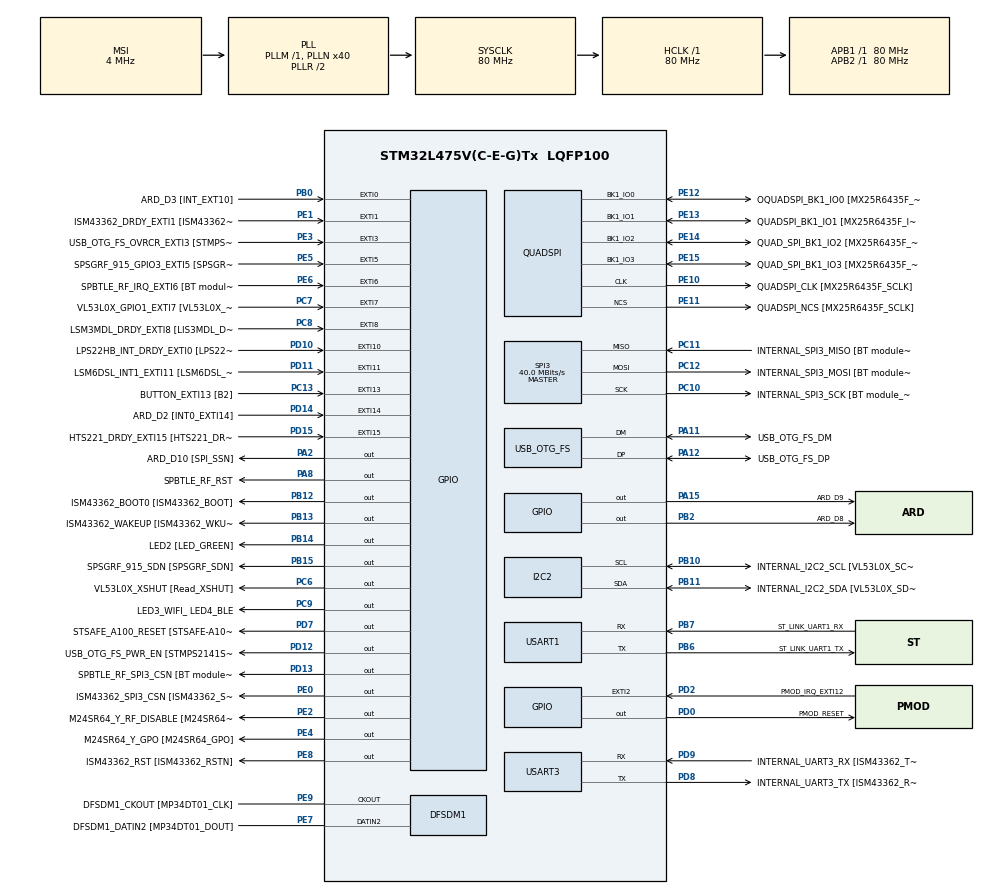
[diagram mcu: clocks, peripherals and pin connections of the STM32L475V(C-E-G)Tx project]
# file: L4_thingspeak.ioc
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I2C2.Timing=0x10909CEC
Mcu.Family=STM32L4
Mcu.Name=STM32L475V(C-E-G)Tx
Mcu.Package=LQFP100
NVIC.EXTI15_10_IRQn=true\:0\:0\:false\:false\:true\:true\:true\:true
NVIC.EXTI9_5_IRQn=true\:0\:0\:false\:false\:true\:true\:true\:true
NVIC.PriorityGroup=NVIC_PRIORITYGROUP_4
PA0.GPIO_Label=ARD_D1 [UART4_TX]
PA0.Signal=UART4_TX
PA1.GPIO_Label=ARD_D0 [UART4_RX]
PA1.Signal=UART4_RX
PA10.GPIO_Label=USB_OTG_FS_ID
PA10.Signal=USB_OTG_FS_ID
PA11.GPIO_Label=USB_OTG_FS_DM
PA11.Mode=Device_Only
PA11.Signal=USB_OTG_FS_DM
PA12.GPIO_Label=USB_OTG_FS_DP
PA12.Mode=Device_Only
PA12.Signal=USB_OTG_FS_DP
PA13\ (JTMS-SWDIO).GPIO_Label=SYS_JTMS_SWDIO
PA13\ (JTMS-SWDIO).Mode=Serial_Wire
PA13\ (JTMS-SWDIO).Signal=SYS_JTMS-SWDIO
PA14\ (JTCK-SWCLK).GPIO_Label=SYS_JTCK_SWCLK
PA14\ (JTCK-SWCLK).Mode=Serial_Wire
PA14\ (JTCK-SWCLK).Signal=SYS_JTCK-SWCLK
PA15\ (JTDI).GPIO_Label=ARD_D9
PA15\ (JTDI).Signal=GPIO_Output
PA2.GPIO_Label=ARD_D10 [SPI_SSN]
PA2.Signal=GPIO_Output
PA3.GPIO_Label=ARD_D4
PA3.Signal=S_TIM2_CH4
PA5.GPIO_Label=ARD_D13 [SPI1_SCK]
PA5.Signal=SPI1_SCK
PA6.GPIO_Label=ARD_D12 [SPI1_MISO]
PA6.Signal=SPI1_MISO
PA7.GPIO_Label=ARD_D11 [SPI1_MOSI]
PA7.Signal=SPI1_MOSI
PA8.GPIO_Label=SPBTLE_RF_RST
PA8.Signal=GPIO_Output
PA9.GPIO_Label=USB_OTG_FS_VBUS [STMPS2141STR_OUT]
PA9.Signal=USB_OTG_FS_VBUS
PB0.GPIO_Label=ARD_D3 [INT_EXT10]
PB0.Signal=GPXTI0
PB1.GPIO_Label=ARD_D6 [ADC1_IN6]
PB1.Signal=ADCx_IN16
PB10.GPIO_Label=INTERNAL_I2C2_SCL [VL53L0X_SCL]
PB10.GPIO_Pu=GPIO_PULLUP
PB10.Mode=I2C
PB10.Signal=I2C2_SCL
PB11.GPIO_Label=INTERNAL_I2C2_SDA [VL53L0X_SDA]
PB11.GPIO_Pu=GPIO_PULLUP
PB11.Mode=I2C
PB11.Signal=I2C2_SDA
PB12.GPIO_Label=ISM43362_BOOT0 [ISM43362_BOOT]
PB12.Signal=GPIO_Output
PB13.GPIO_Label=ISM43362_WAKEUP [ISM43362_WKUP]
PB13.Signal=GPIO_Output
PB14.GPIO_Label=LED2 [LED_GREEN]
PB14.Signal=GPIO_Output
PB15.GPIO_Label=SPSGRF_915_SDN [SPSGRF_SDN]
PB15.Signal=GPIO_Output
PB2.GPIO_Label=ARD_D8
PB2.Signal=GPIO_Output
PB6.GPIO_Label=ST_LINK_UART1_TX
PB6.Mode=Asynchronous
PB6.Signal=USART1_TX
PB7.GPIO_Label=ST_LINK_UART1_RX
PB7.Mode=Asynchronous
PB7.Signal=USART1_RX
PB8.GPIO_Label=ARD_D15 [I2C1_SCL]
PB8.Signal=I2C1_SCL
PB9.GPIO_Label=ARD_D14 [I2C1_SDA]
PB9.Signal=I2C1_SDA
PC0.GPIO_Label=ARD_A5 [ADC]
PC0.Signal=ADCx_IN1
PC1.GPIO_Label=ARD_A4 [ADC]
PC1.Signal=ADCx_IN2
PC10.GPIO_Label=INTERNAL_SPI3_SCK [BT module_SPI_SCLK] [ISM43362_SCK]
PC10.Mode=Full_Duplex_Master
PC10.Signal=SPI3_SCK
PC11.GPIO_Label=INTERNAL_SPI3_MISO [BT module_SPI_MISO] [ISM43362_MISO]
PC11.Mode=Full_Duplex_Master
PC11.Signal=SPI3_MISO
PC12.GPIO_Label=INTERNAL_SPI3_MOSI [BT module_SPI_MOSI] [ISM43362_MOSI]
PC12.Mode=Full_Duplex_Master
PC12.Signal=SPI3_MOSI
PC13.GPIO_Label=BUTTON_EXTI13 [B2]
PC13.GPIO_ModeDefaultEXTI=GPIO_MODE_IT_FALLING
PC13.Signal=GPXTI13
PC14-OSC32_IN\ (PC14).Mode=LSE-External-Oscillator
PC14-OSC32_IN\ (PC14).Signal=RCC_OSC32_IN
PC15-OSC32_OUT\ (PC15).Mode=LSE-External-Oscillator
PC15-OSC32_OUT\ (PC15).Signal=RCC_OSC32_OUT
PC2.GPIO_Label=ARD_A3 [ADC]
PC2.Signal=ADCx_IN3
PC3.GPIO_Label=ARD_A2 [ADC]
PC3.Signal=ADCx_IN4
PC4.GPIO_Label=ARD_A1 [ADC]
PC4.Signal=ADCx_IN13
PC5.GPIO_Label=ARD_A0 [ADC]
PC5.Signal=ADCx_IN14
PC6.GPIO_Label=VL53L0X_XSHUT [Read_XSHUT]
PC6.Signal=GPIO_Output
PC7.GPIO_Label=VL53L0X_GPIO1_EXTI7 [VL53L0X_GPIO1]
PC7.Signal=GPXTI7
PC8.GPIO_Label=LSM3MDL_DRDY_EXTI8 [LIS3MDL_DRDY]
PC8.Signal=GPXTI8
PC9.GPIO_Label=LED3_WIFI_ LED4_BLE
PC9.Signal=GPIO_Output
PD0.GPIO_Label=PMOD_RESET
PD0.Signal=GPIO_Output
PD1.GPIO_Label=PMOD_SPI2_SCK
PD1.Signal=SPI2_SCK
PD10.GPIO_Label=LPS22HB_INT_DRDY_EXTI0 [LPS22HB_INT_DRDY] 
PD10.Signal=GPXTI10
PD11.GPIO_Label=LSM6DSL_INT1_EXTI11 [LSM6DSL_INT1]
PD11.Signal=GPXTI11
PD12.GPIO_Label=USB_OTG_FS_PWR_EN [STMPS2141STR_EN]
PD12.Signal=GPIO_Output
PD13.GPIO_Label=SPBTLE_RF_SPI3_CSN [BT module_SPI_CS]
PD13.PinState=GPIO_PIN_SET
PD13.Signal=GPIO_Output
PD14.GPIO_Label=ARD_D2 [INT0_EXTI14]
PD14.Signal=GPXTI14
PD15.GPIO_Label=HTS221_DRDY_EXTI15 [HTS221_DRDY]
PD15.Signal=GPXTI15
PD2.GPIO_Label=PMOD_IRQ_EXTI12
PD2.Signal=GPXTI2
PD3.GPIO_Label=PMOD_UART2_CTS
PD3.Signal=USART2_CTS
PD4.GPIO_Label=PMOD_UART2_RTS
PD4.Signal=USART2_RTS
PD5.GPIO_Label=PMOD_UART2_TX
PD5.Signal=USART2_TX
PD6.GPIO_Label=PMOD_UART2_RX
PD6.Signal=USART2_RX
PD7.GPIO_Label=STSAFE_A100_RESET [STSAFE-A100_RESET]
PD7.Signal=GPIO_Output
PD8.GPIO_Label=INTERNAL_UART3_TX [ISM43362_RX]
PD8.Mode=Asynchronous
PD8.Signal=USART3_TX
PD9.GPIO_Label=INTERNAL_UART3_RX [ISM43362_TX]
PD9.Mode=Asynchronous
PD9.Signal=USART3_RX
PE0.GPIO_Label=ISM43362_SPI3_CSN [ISM43362_SSN]
PE0.PinState=GPIO_PIN_SET
PE0.Signal=GPIO_Output
PE1.GPIO_Label=ISM43362_DRDY_EXTI1 [ISM43362_DATARDY]
PE1.Signal=GPXTI1
PE10.GPIO_Label=QUADSPI_CLK [MX25R6435F_SCLK]
PE10.Mode=Single Bank
PE10.Signal=QUADSPI_CLK
PE11.GPIO_Label=QUADSPI_NCS [MX25R6435F_SCLK]
PE11.Mode=Single Bank
PE11.Signal=QUADSPI_NCS
PE12.GPIO_Label=OQUADSPI_BK1_IO0 [MX25R6435F_IO0]
PE12.Mode=Single Bank
PE12.Signal=QUADSPI_BK1_IO0
PE13.GPIO_Label=QUADSPI_BK1_IO1 [MX25R6435F_IO1]
PE13.Mode=Single Bank
PE13.Signal=QUADSPI_BK1_IO1
PE14.GPIO_Label=QUAD_SPI_BK1_IO2 [MX25R6435F_IO2]
PE14.Mode=Single Bank
PE14.Signal=QUADSPI_BK1_IO2
PE15.GPIO_Label=QUAD_SPI_BK1_IO3 [MX25R6435F_IO3]
PE15.Mode=Single Bank
PE15.Signal=QUADSPI_BK1_IO3
PE2.GPIO_Label=M24SR64_Y_RF_DISABLE [M24SR64_RFDIS]
PE2.Signal=GPIO_Output
PE3.GPIO_Label=USB_OTG_FS_OVRCR_EXTI3 [STMPS2141STR_FAULT]
PE3.Signal=GPXTI3
PE4.GPIO_Label=M24SR64_Y_GPO [M24SR64_GPO]
PE4.Signal=GPIO_Output
PE5.GPIO_Label=SPSGRF_915_GPIO3_EXTI5 [SPSGRF_GPIO_3]
PE5.Signal=GPXTI5
PE6.GPIO_Label=SPBTLE_RF_IRQ_EXTI6 [BT module_SPI_IRQ]
PE6.Signal=GPXTI6
PE7.GPIO_Label=DFSDM1_DATIN2 [MP34DT01_DOUT]
PE7.Signal=S_DATAIN2DFSDM1
PE8.GPIO_Label=ISM43362_RST [ISM43362_RSTN]
PE8.Signal=GPIO_Output
PE9.GPIO_Label=DFSDM1_CKOUT [MP34DT01_CLK]
PE9.Signal=S_CKOUTDFSDM1
ProjectManager.HeapSize=0x200
ProjectManager.StackSize=0x400
ProjectManager.TargetToolchain=STM32CubeIDE
QUADSPI.ClockPrescaler=2
QUADSPI.FifoThreshold=4
QUADSPI.FlashSize=23
QUADSPI.SampleShifting=QSPI_SAMPLE_SHIFTING_HALFCYCLE
RCC.ADCFreq_Value=48000000
RCC.AHBFreq_Value=80000000
RCC.APB1Freq_Value=80000000
RCC.APB1TimFreq_Value=80000000
RCC.APB2Freq_Value=80000000
RCC.APB2TimFreq_Value=80000000
RCC.CortexFreq_Value=80000000
RCC.HCLKFreq_Value=80000000
RCC.HSE_VALUE=8000000
RCC.HSI_VALUE=16000000
RCC.MSI_VALUE=4000000
RCC.PLLN=40
RCC.PLLSAI1N=24
RCC.SYSCLKFreq_VALUE=80000000
RCC.SYSCLKSource=RCC_SYSCLKSOURCE_PLLCLK
RCC.USBFreq_Value=48000000
RCC.VCOOutputFreq_Value=160000000
SH.ADCx_IN1.0=ADC1_IN1
SH.ADCx_IN13.0=ADC1_IN13
SH.ADCx_IN14.0=ADC1_IN14
SH.ADCx_IN16.0=ADC1_IN16
SH.ADCx_IN2.0=ADC1_IN2
SH.ADCx_IN3.0=ADC1_IN3
SH.ADCx_IN4.0=ADC1_IN4
SH.S_CKOUTDFSDM1.0=DFSDM1_CKOUT,CKOUT
SH.S_CKOUTDFSDM1.1=DFSDM1_CKOUT,PDM_SPI_Input_from_ch12_and_Internal_Clock
SH.S_DATAIN2DFSDM1.0=DFSDM1_DATIN2,PDM_SPI_Input_from_ch12_and_Internal_Clock
SH.S_TIM2_CH4.0=TIM2_CH4
SPI3.CalculateBaudRate=40.0 MBits/s
SPI3.Direction=SPI_DIRECTION_2LINES
SPI3.Mode=SPI_MODE_MASTER
SPI3.VirtualType=VM_MASTER
USART1.VirtualMode-Asynchronous=VM_ASYNC
USART3.VirtualMode-Asynchronous=VM_ASYNC
USB_OTG_FS.VirtualMode=Device_Only
board=B-L475E-IOT01A1

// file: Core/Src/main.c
/* USER CODE BEGIN Header */
/**
  ******************************************************************************
  * @file           : main.c
  * @brief          : Main program body
  ******************************************************************************
  * @attention
  *
  * Copyright (c) 2023 STMicroelectronics.
  * All rights reserved.
  *
  * This software is licensed under terms that can be found in the LICENSE file
  * in the root directory of this software component.
  * If no LICENSE file comes with this software, it is provided AS-IS.
  *
  ******************************************************************************
  */
/* USER CODE END Header */
#include "main.h"
#include "wifi.c"
#include "es_wifi.h"
/* USER CODE BEGIN Includes */
#include "stm32l475e_iot01.h"
#include "stm32l475e_iot01_tsensor.h"
#include <math.h>

/* USER CODE END Includes */

/* USER CODE BEGIN PD */
#define SSID     "TraTo"
#define PASSWORD "00000000"
#define PORT           80
#define THINGSPEAK_API_KEY "ZPLGUXRC93AJK66Y"
#define SampleTime	300000 //Sample time giả sử là 5 phút.
/* USER CODE END PD */

DFSDM_Channel_HandleTypeDef hdfsdm1_channel1;

I2C_HandleTypeDef hi2c2;

QSPI_HandleTypeDef hqspi;

SPI_HandleTypeDef hspi3;

UART_HandleTypeDef huart1;
UART_HandleTypeDef huart3;

PCD_HandleTypeDef hpcd_USB_OTG_FS;

/* USER CODE BEGIN PV */
static   uint8_t http[80];
uint16_t respLen;
uint8_t  IP_Addr[4];
uint16_t data[3]; // data buffer to be sent

float temp_value = 0;  // Measured temperature value
float hum_value = 0;  // Measured humidity value
float press_value = 0;  // Measured pressure value

/* USER CODE END PV */

void SystemClock_Config(void);
static void MX_GPIO_Init(void);
static void MX_DFSDM1_Init(void);
static void MX_I2C2_Init(void);
static void MX_QUADSPI_Init(void);
static void MX_SPI3_Init(void);
static void MX_USART1_UART_Init(void);
static void MX_USART3_UART_Init(void);
static void MX_USB_OTG_FS_PCD_Init(void);

int main(void)
{

  /* MCU Configuration--------------------------------------------------------*/

  /* Reset of all peripherals, Initializes the Flash interface and the Systick. */
  HAL_Init();

  /* Configure the system clock */
  SystemClock_Config();

  /* Initialize all configured peripherals */
  MX_GPIO_Init();
  MX_DFSDM1_Init();
  MX_I2C2_Init();
  MX_QUADSPI_Init();
  MX_SPI3_Init();
  MX_USART1_UART_Init();
  MX_USART3_UART_Init();
  MX_USB_OTG_FS_PCD_Init();
  /* USER CODE BEGIN 2 */
  while(WIFI_Init() !=  WIFI_STATUS_OK)
  {
	  HAL_Delay(5000); //delay 5s sau đó thử kết nối lại wifi
  };
  while(WIFI_Connect(SSID, PASSWORD, WIFI_ECN_WPA2_PSK) != WIFI_STATUS_OK) {
	  HAL_Delay(5000); //delay 5s sau đó thử kết nối lại wifi
  }
  WIFI_GetIP_Address(IP_Addr); //Lấy địa chỉ IP
  HAL_Delay(10);
  WIFI_OpenClientConnection(1, WIFI_TCP_PROTOCOL, "", "api.thingspeak.com", PORT, 3000);

  /* Init các cảm biến */
  BSP_TSENSOR_Init(); 	// cảm biến nhiệt độ
  BSP_HSENSOR_Init();	// Cảm biến độ ẩm
  BSP_PSENSOR_Init();	// Cảm biến áp suất

  /* USER CODE END 2 */

  /* Infinite loop */
  while (1)
  {

	  temp_value = BSP_TSENSOR_ReadTemp();
	  hum_value = BSP_HSENSOR_ReadHumidity();
	  press_value = BSP_PSENSOR_ReadPressure();

	  data[0] = (int) temp_value;
	  data[1] = (int) hum_value;
	  data[2] = (int) press_value;
	  SendData(3, &data);
	  HAL_Delay(SampleTime); // Sau mỗi Sample time thì gửi data một lần.

  }
}

void SystemClock_Config(void)
{
  RCC_OscInitTypeDef RCC_OscInitStruct = {0};
  RCC_ClkInitTypeDef RCC_ClkInitStruct = {0};

  /** Configure the main internal regulator output voltage
  */
  if (HAL_PWREx_ControlVoltageScaling(PWR_REGULATOR_VOLTAGE_SCALE1) != HAL_OK)
  {
    Error_Handler();
  }

  /** Configure LSE Drive Capability
  */
  HAL_PWR_EnableBkUpAccess();
  __HAL_RCC_LSEDRIVE_CONFIG(RCC_LSEDRIVE_LOW);

  /** Initializes the RCC Oscillators according to the specified parameters
  * in the RCC_OscInitTypeDef structure.
  */
  RCC_OscInitStruct.OscillatorType = RCC_OSCILLATORTYPE_LSE|RCC_OSCILLATORTYPE_MSI;
  RCC_OscInitStruct.LSEState = RCC_LSE_ON;
  RCC_OscInitStruct.MSIState = RCC_MSI_ON;
  RCC_OscInitStruct.MSICalibrationValue = 0;
  RCC_OscInitStruct.MSIClockRange = RCC_MSIRANGE_6;
  RCC_OscInitStruct.PLL.PLLState = RCC_PLL_ON;
  RCC_OscInitStruct.PLL.PLLSource = RCC_PLLSOURCE_MSI;
  RCC_OscInitStruct.PLL.PLLM = 1;
  RCC_OscInitStruct.PLL.PLLN = 40;
  RCC_OscInitStruct.PLL.PLLP = RCC_PLLP_DIV7;
  RCC_OscInitStruct.PLL.PLLQ = RCC_PLLQ_DIV2;
  RCC_OscInitStruct.PLL.PLLR = RCC_PLLR_DIV2;
  if (HAL_RCC_OscConfig(&RCC_OscInitStruct) != HAL_OK)
  {
    Error_Handler();
  }

  /** Initializes the CPU, AHB and APB buses clocks
  */
  RCC_ClkInitStruct.ClockType = RCC_CLOCKTYPE_HCLK|RCC_CLOCKTYPE_SYSCLK
                              |RCC_CLOCKTYPE_PCLK1|RCC_CLOCKTYPE_PCLK2;
  RCC_ClkInitStruct.SYSCLKSource = RCC_SYSCLKSOURCE_PLLCLK;
  RCC_ClkInitStruct.AHBCLKDivider = RCC_SYSCLK_DIV1;
  RCC_ClkInitStruct.APB1CLKDivider = RCC_HCLK_DIV1;
  RCC_ClkInitStruct.APB2CLKDivider = RCC_HCLK_DIV1;

  if (HAL_RCC_ClockConfig(&RCC_ClkInitStruct, FLASH_LATENCY_4) != HAL_OK)
  {
    Error_Handler();
  }

  /** Enable MSI Auto calibration
  */
  HAL_RCCEx_EnableMSIPLLMode();
}

static void MX_DFSDM1_Init(void)
{

  hdfsdm1_channel1.Instance = DFSDM1_Channel1;
  hdfsdm1_channel1.Init.OutputClock.Activation = ENABLE;
  hdfsdm1_channel1.Init.OutputClock.Selection = DFSDM_CHANNEL_OUTPUT_CLOCK_SYSTEM;
  hdfsdm1_channel1.Init.OutputClock.Divider = 2;
  hdfsdm1_channel1.Init.Input.Multiplexer = DFSDM_CHANNEL_EXTERNAL_INPUTS;
  hdfsdm1_channel1.Init.Input.DataPacking = DFSDM_CHANNEL_STANDARD_MODE;
  hdfsdm1_channel1.Init.Input.Pins = DFSDM_CHANNEL_FOLLOWING_CHANNEL_PINS;
  hdfsdm1_channel1.Init.SerialInterface.Type = DFSDM_CHANNEL_SPI_RISING;
  hdfsdm1_channel1.Init.SerialInterface.SpiClock = DFSDM_CHANNEL_SPI_CLOCK_INTERNAL;
  hdfsdm1_channel1.Init.Awd.FilterOrder = DFSDM_CHANNEL_FASTSINC_ORDER;
  hdfsdm1_channel1.Init.Awd.Oversampling = 1;
  hdfsdm1_channel1.Init.Offset = 0;
  hdfsdm1_channel1.Init.RightBitShift = 0x00;
  if (HAL_DFSDM_ChannelInit(&hdfsdm1_channel1) != HAL_OK)
  {
    Error_Handler();
  }

}

static void MX_I2C2_Init(void)
{

  hi2c2.Instance = I2C2;
  hi2c2.Init.Timing = 0x10909CEC;
  hi2c2.Init.OwnAddress1 = 0;
  hi2c2.Init.AddressingMode = I2C_ADDRESSINGMODE_7BIT;
  hi2c2.Init.DualAddressMode = I2C_DUALADDRESS_DISABLE;
  hi2c2.Init.OwnAddress2 = 0;
  hi2c2.Init.OwnAddress2Masks = I2C_OA2_NOMASK;
  hi2c2.Init.GeneralCallMode = I2C_GENERALCALL_DISABLE;
  hi2c2.Init.NoStretchMode = I2C_NOSTRETCH_DISABLE;
  if (HAL_I2C_Init(&hi2c2) != HAL_OK)
  {
    Error_Handler();
  }

  /** Configure Analogue filter
  */
  if (HAL_I2CEx_ConfigAnalogFilter(&hi2c2, I2C_ANALOGFILTER_ENABLE) != HAL_OK)
  {
    Error_Handler();
  }

  /** Configure Digital filter
  */
  if (HAL_I2CEx_ConfigDigitalFilter(&hi2c2, 0) != HAL_OK)
  {
    Error_Handler();
  }

}

static void MX_QUADSPI_Init(void)
{

  /* QUADSPI parameter configuration*/
  hqspi.Instance = QUADSPI;
  hqspi.Init.ClockPrescaler = 2;
  hqspi.Init.FifoThreshold = 4;
  hqspi.Init.SampleShifting = QSPI_SAMPLE_SHIFTING_HALFCYCLE;
  hqspi.Init.FlashSize = 23;
  hqspi.Init.ChipSelectHighTime = QSPI_CS_HIGH_TIME_1_CYCLE;
  hqspi.Init.ClockMode = QSPI_CLOCK_MODE_0;
  if (HAL_QSPI_Init(&hqspi) != HAL_OK)
  {
    Error_Handler();
  }

}

static void MX_SPI3_Init(void)
{

  /* SPI3 parameter configuration*/
  hspi3.Instance = SPI3;
  hspi3.Init.Mode = SPI_MODE_MASTER;
  hspi3.Init.Direction = SPI_DIRECTION_2LINES;
  hspi3.Init.DataSize = SPI_DATASIZE_4BIT;
  hspi3.Init.CLKPolarity = SPI_POLARITY_LOW;
  hspi3.Init.CLKPhase = SPI_PHASE_1EDGE;
  hspi3.Init.NSS = SPI_NSS_SOFT;
  hspi3.Init.BaudRatePrescaler = SPI_BAUDRATEPRESCALER_2;
  hspi3.Init.FirstBit = SPI_FIRSTBIT_MSB;
  hspi3.Init.TIMode = SPI_TIMODE_DISABLE;
  hspi3.Init.CRCCalculation = SPI_CRCCALCULATION_DISABLE;
  hspi3.Init.CRCPolynomial = 7;
  hspi3.Init.CRCLength = SPI_CRC_LENGTH_DATASIZE;
  hspi3.Init.NSSPMode = SPI_NSS_PULSE_ENABLE;
  if (HAL_SPI_Init(&hspi3) != HAL_OK)
  {
    Error_Handler();
  }

}

static void MX_USART1_UART_Init(void)
{

  huart1.Instance = USART1;
  huart1.Init.BaudRate = 115200;
  huart1.Init.WordLength = UART_WORDLENGTH_8B;
  huart1.Init.StopBits = UART_STOPBITS_1;
  huart1.Init.Parity = UART_PARITY_NONE;
  huart1.Init.Mode = UART_MODE_TX_RX;
  huart1.Init.HwFlowCtl = UART_HWCONTROL_NONE;
  huart1.Init.OverSampling = UART_OVERSAMPLING_16;
  huart1.Init.OneBitSampling = UART_ONE_BIT_SAMPLE_DISABLE;
  huart1.AdvancedInit.AdvFeatureInit = UART_ADVFEATURE_NO_INIT;
  if (HAL_UART_Init(&huart1) != HAL_OK)
  {
    Error_Handler();
  }

}

static void MX_USART3_UART_Init(void)
{

  huart3.Instance = USART3;
  huart3.Init.BaudRate = 115200;
  huart3.Init.WordLength = UART_WORDLENGTH_8B;
  huart3.Init.StopBits = UART_STOPBITS_1;
  huart3.Init.Parity = UART_PARITY_NONE;
  huart3.Init.Mode = UART_MODE_TX_RX;
  huart3.Init.HwFlowCtl = UART_HWCONTROL_NONE;
  huart3.Init.OverSampling = UART_OVERSAMPLING_16;
  huart3.Init.OneBitSampling = UART_ONE_BIT_SAMPLE_DISABLE;
  huart3.AdvancedInit.AdvFeatureInit = UART_ADVFEATURE_NO_INIT;
  if (HAL_UART_Init(&huart3) != HAL_OK)
  {
    Error_Handler();
  }

}

static void MX_USB_OTG_FS_PCD_Init(void)
{

  hpcd_USB_OTG_FS.Instance = USB_OTG_FS;
  hpcd_USB_OTG_FS.Init.dev_endpoints = 6;
  hpcd_USB_OTG_FS.Init.speed = PCD_SPEED_FULL;
  hpcd_USB_OTG_FS.Init.phy_itface = PCD_PHY_EMBEDDED;
  hpcd_USB_OTG_FS.Init.Sof_enable = DISABLE;
  hpcd_USB_OTG_FS.Init.low_power_enable = DISABLE;
  hpcd_USB_OTG_FS.Init.lpm_enable = DISABLE;
  hpcd_USB_OTG_FS.Init.battery_charging_enable = DISABLE;
  hpcd_USB_OTG_FS.Init.use_dedicated_ep1 = DISABLE;
  hpcd_USB_OTG_FS.Init.vbus_sensing_enable = DISABLE;
  if (HAL_PCD_Init(&hpcd_USB_OTG_FS) != HAL_OK)
  {
    Error_Handler();
  }

}

static void MX_GPIO_Init(void)
{
  GPIO_InitTypeDef GPIO_InitStruct = {0};

  /* GPIO Ports Clock Enable */
  __HAL_RCC_GPIOE_CLK_ENABLE();
  __HAL_RCC_GPIOC_CLK_ENABLE();
  __HAL_RCC_GPIOA_CLK_ENABLE();
  __HAL_RCC_GPIOB_CLK_ENABLE();
  __HAL_RCC_GPIOD_CLK_ENABLE();

  /*Configure GPIO pin Output Level */
  HAL_GPIO_WritePin(GPIOE, M24SR64_Y_RF_DISABLE_Pin|M24SR64_Y_GPO_Pin|ISM43362_RST_Pin, GPIO_PIN_RESET);

  /*Configure GPIO pin Output Level */
  HAL_GPIO_WritePin(GPIOA, ARD_D10_Pin|SPBTLE_RF_RST_Pin|ARD_D9_Pin, GPIO_PIN_RESET);

  /*Configure GPIO pin Output Level */
  HAL_GPIO_WritePin(GPIOB, ARD_D8_Pin|ISM43362_BOOT0_Pin|ISM43362_WAKEUP_Pin|LED2_Pin
                          |SPSGRF_915_SDN_Pin, GPIO_PIN_RESET);

  /*Configure GPIO pin Output Level */
  HAL_GPIO_WritePin(GPIOD, USB_OTG_FS_PWR_EN_Pin|PMOD_RESET_Pin|STSAFE_A100_RESET_Pin, GPIO_PIN_RESET);

  /*Configure GPIO pin Output Level */
  HAL_GPIO_WritePin(SPBTLE_RF_SPI3_CSN_GPIO_Port, SPBTLE_RF_SPI3_CSN_Pin, GPIO_PIN_SET);

  /*Configure GPIO pin Output Level */
  HAL_GPIO_WritePin(GPIOC, VL53L0X_XSHUT_Pin|LED3_WIFI__LED4_BLE_Pin, GPIO_PIN_RESET);

  /*Configure GPIO pin Output Level */
  HAL_GPIO_WritePin(ISM43362_SPI3_CSN_GPIO_Port, ISM43362_SPI3_CSN_Pin, GPIO_PIN_SET);

  /*Configure GPIO pins : M24SR64_Y_RF_DISABLE_Pin M24SR64_Y_GPO_Pin ISM43362_RST_Pin ISM43362_SPI3_CSN_Pin */
  GPIO_InitStruct.Pin = M24SR64_Y_RF_DISABLE_Pin|M24SR64_Y_GPO_Pin|ISM43362_RST_Pin|ISM43362_SPI3_CSN_Pin;
  GPIO_InitStruct.Mode = GPIO_MODE_OUTPUT_PP;
  GPIO_InitStruct.Pull = GPIO_NOPULL;
  GPIO_InitStruct.Speed = GPIO_SPEED_FREQ_LOW;
  HAL_GPIO_Init(GPIOE, &GPIO_InitStruct);

  /*Configure GPIO pins : USB_OTG_FS_OVRCR_EXTI3_Pin SPSGRF_915_GPIO3_EXTI5_Pin SPBTLE_RF_IRQ_EXTI6_Pin ISM43362_DRDY_EXTI1_Pin */
  GPIO_InitStruct.Pin = USB_OTG_FS_OVRCR_EXTI3_Pin|SPSGRF_915_GPIO3_EXTI5_Pin|SPBTLE_RF_IRQ_EXTI6_Pin|ISM43362_DRDY_EXTI1_Pin;
  GPIO_InitStruct.Mode = GPIO_MODE_IT_RISING;
  GPIO_InitStruct.Pull = GPIO_NOPULL;
  HAL_GPIO_Init(GPIOE, &GPIO_InitStruct);

  /*Configure GPIO pin : BUTTON_EXTI13_Pin */
  GPIO_InitStruct.Pin = BUTTON_EXTI13_Pin;
  GPIO_InitStruct.Mode = GPIO_MODE_IT_FALLING;
  GPIO_InitStruct.Pull = GPIO_NOPULL;
  HAL_GPIO_Init(BUTTON_EXTI13_GPIO_Port, &GPIO_InitStruct);

  /*Configure GPIO pins : ARD_A5_Pin ARD_A4_Pin ARD_A3_Pin ARD_A2_Pin
                           ARD_A1_Pin ARD_A0_Pin */
  GPIO_InitStruct.Pin = ARD_A5_Pin|ARD_A4_Pin|ARD_A3_Pin|ARD_A2_Pin
                          |ARD_A1_Pin|ARD_A0_Pin;
  GPIO_InitStruct.Mode = GPIO_MODE_ANALOG_ADC_CONTROL;
  GPIO_InitStruct.Pull = GPIO_NOPULL;
  HAL_GPIO_Init(GPIOC, &GPIO_InitStruct);

  /*Configure GPIO pins : ARD_D1_Pin ARD_D0_Pin */
  GPIO_InitStruct.Pin = ARD_D1_Pin|ARD_D0_Pin;
  GPIO_InitStruct.Mode = GPIO_MODE_AF_PP;
  GPIO_InitStruct.Pull = GPIO_NOPULL;
  GPIO_InitStruct.Speed = GPIO_SPEED_FREQ_VERY_HIGH;
  GPIO_InitStruct.Alternate = GPIO_AF8_UART4;
  HAL_GPIO_Init(GPIOA, &GPIO_InitStruct);

  /*Configure GPIO pins : ARD_D10_Pin SPBTLE_RF_RST_Pin ARD_D9_Pin */
  GPIO_InitStruct.Pin = ARD_D10_Pin|SPBTLE_RF_RST_Pin|ARD_D9_Pin;
  GPIO_InitStruct.Mode = GPIO_MODE_OUTPUT_PP;
  GPIO_InitStruct.Pull = GPIO_NOPULL;
  GPIO_InitStruct.Speed = GPIO_SPEED_FREQ_LOW;
  HAL_GPIO_Init(GPIOA, &GPIO_InitStruct);

  /*Configure GPIO pin : ARD_D4_Pin */
  GPIO_InitStruct.Pin = ARD_D4_Pin;
  GPIO_InitStruct.Mode = GPIO_MODE_AF_PP;
  GPIO_InitStruct.Pull = GPIO_NOPULL;
  GPIO_InitStruct.Speed = GPIO_SPEED_FREQ_LOW;
  GPIO_InitStruct.Alternate = GPIO_AF1_TIM2;
  HAL_GPIO_Init(ARD_D4_GPIO_Port, &GPIO_InitStruct);

  /*Configure GPIO pins : ARD_D13_Pin ARD_D12_Pin ARD_D11_Pin */
  GPIO_InitStruct.Pin = ARD_D13_Pin|ARD_D12_Pin|ARD_D11_Pin;
  GPIO_InitStruct.Mode = GPIO_MODE_AF_PP;
  GPIO_InitStruct.Pull = GPIO_NOPULL;
  GPIO_InitStruct.Speed = GPIO_SPEED_FREQ_VERY_HIGH;
  GPIO_InitStruct.Alternate = GPIO_AF5_SPI1;
  HAL_GPIO_Init(GPIOA, &GPIO_InitStruct);

  /*Configure GPIO pin : ARD_D3_Pin */
  GPIO_InitStruct.Pin = ARD_D3_Pin;
  GPIO_InitStruct.Mode = GPIO_MODE_IT_RISING;
  GPIO_InitStruct.Pull = GPIO_NOPULL;
  HAL_GPIO_Init(ARD_D3_GPIO_Port, &GPIO_InitStruct);

  /*Configure GPIO pin : ARD_D6_Pin */
  GPIO_InitStruct.Pin = ARD_D6_Pin;
  GPIO_InitStruct.Mode = GPIO_MODE_ANALOG_ADC_CONTROL;
  GPIO_InitStruct.Pull = GPIO_NOPULL;
  HAL_GPIO_Init(ARD_D6_GPIO_Port, &GPIO_InitStruct);

  /*Configure GPIO pins : ARD_D8_Pin ISM43362_BOOT0_Pin ISM43362_WAKEUP_Pin LED2_Pin
                           SPSGRF_915_SDN_Pin */
  GPIO_InitStruct.Pin = ARD_D8_Pin|ISM43362_BOOT0_Pin|ISM43362_WAKEUP_Pin|LED2_Pin
                          |SPSGRF_915_SDN_Pin;
  GPIO_InitStruct.Mode = GPIO_MODE_OUTPUT_PP;
  GPIO_InitStruct.Pull = GPIO_NOPULL;
  GPIO_InitStruct.Speed = GPIO_SPEED_FREQ_LOW;
  HAL_GPIO_Init(GPIOB, &GPIO_InitStruct);

  /*Configure GPIO pins : LPS22HB_INT_DRDY_EXTI0_Pin LSM6DSL_INT1_EXTI11_Pin ARD_D2_Pin HTS221_DRDY_EXTI15_Pin
                           PMOD_IRQ_EXTI12_Pin */
  GPIO_InitStruct.Pin = LPS22HB_INT_DRDY_EXTI0_Pin|LSM6DSL_INT1_EXTI11_Pin|ARD_D2_Pin|HTS221_DRDY_EXTI15_Pin
                          |PMOD_IRQ_EXTI12_Pin;
  GPIO_InitStruct.Mode = GPIO_MODE_IT_RISING;
  GPIO_InitStruct.Pull = GPIO_NOPULL;
  HAL_GPIO_Init(GPIOD, &GPIO_InitStruct);

  /*Configure GPIO pins : USB_OTG_FS_PWR_EN_Pin SPBTLE_RF_SPI3_CSN_Pin PMOD_RESET_Pin STSAFE_A100_RESET_Pin */
  GPIO_InitStruct.Pin = USB_OTG_FS_PWR_EN_Pin|SPBTLE_RF_SPI3_CSN_Pin|PMOD_RESET_Pin|STSAFE_A100_RESET_Pin;
  GPIO_InitStruct.Mode = GPIO_MODE_OUTPUT_PP;
  GPIO_InitStruct.Pull = GPIO_NOPULL;
  GPIO_InitStruct.Speed = GPIO_SPEED_FREQ_LOW;
  HAL_GPIO_Init(GPIOD, &GPIO_InitStruct);

  /*Configure GPIO pins : VL53L0X_XSHUT_Pin LED3_WIFI__LED4_BLE_Pin */
  GPIO_InitStruct.Pin = VL53L0X_XSHUT_Pin|LED3_WIFI__LED4_BLE_Pin;
  GPIO_InitStruct.Mode = GPIO_MODE_OUTPUT_PP;
  GPIO_InitStruct.Pull = GPIO_NOPULL;
  GPIO_InitStruct.Speed = GPIO_SPEED_FREQ_LOW;
  HAL_GPIO_Init(GPIOC, &GPIO_InitStruct);

  /*Configure GPIO pins : VL53L0X_GPIO1_EXTI7_Pin LSM3MDL_DRDY_EXTI8_Pin */
  GPIO_InitStruct.Pin = VL53L0X_GPIO1_EXTI7_Pin|LSM3MDL_DRDY_EXTI8_Pin;
  GPIO_InitStruct.Mode = GPIO_MODE_IT_RISING;
  GPIO_InitStruct.Pull = GPIO_NOPULL;
  HAL_GPIO_Init(GPIOC, &GPIO_InitStruct);

  /*Configure GPIO pin : PMOD_SPI2_SCK_Pin */
  GPIO_InitStruct.Pin = PMOD_SPI2_SCK_Pin;
  GPIO_InitStruct.Mode = GPIO_MODE_AF_PP;
  GPIO_InitStruct.Pull = GPIO_NOPULL;
  GPIO_InitStruct.Speed = GPIO_SPEED_FREQ_VERY_HIGH;
  GPIO_InitStruct.Alternate = GPIO_AF5_SPI2;
  HAL_GPIO_Init(PMOD_SPI2_SCK_GPIO_Port, &GPIO_InitStruct);

  /*Configure GPIO pins : PMOD_UART2_CTS_Pin PMOD_UART2_RTS_Pin PMOD_UART2_TX_Pin PMOD_UART2_RX_Pin */
  GPIO_InitStruct.Pin = PMOD_UART2_CTS_Pin|PMOD_UART2_RTS_Pin|PMOD_UART2_TX_Pin|PMOD_UART2_RX_Pin;
  GPIO_InitStruct.Mode = GPIO_MODE_AF_PP;
  GPIO_InitStruct.Pull = GPIO_NOPULL;
  GPIO_InitStruct.Speed = GPIO_SPEED_FREQ_VERY_HIGH;
  GPIO_InitStruct.Alternate = GPIO_AF7_USART2;
  HAL_GPIO_Init(GPIOD, &GPIO_InitStruct);

  /*Configure GPIO pins : ARD_D15_Pin ARD_D14_Pin */
  GPIO_InitStruct.Pin = ARD_D15_Pin|ARD_D14_Pin;
  GPIO_InitStruct.Mode = GPIO_MODE_AF_OD;
  GPIO_InitStruct.Pull = GPIO_NOPULL;
  GPIO_InitStruct.Speed = GPIO_SPEED_FREQ_VERY_HIGH;
  GPIO_InitStruct.Alternate = GPIO_AF4_I2C1;
  HAL_GPIO_Init(GPIOB, &GPIO_InitStruct);

  /* EXTI interrupt init*/
  HAL_NVIC_SetPriority(EXTI9_5_IRQn, 0, 0);
  HAL_NVIC_EnableIRQ(EXTI9_5_IRQn);

  HAL_NVIC_SetPriority(EXTI15_10_IRQn, 0, 0);
  HAL_NVIC_EnableIRQ(EXTI15_10_IRQn);

}

/* USER CODE BEGIN 4 */

void SendData(uint8_t numberOfField, uint16_t *value) {
	uint16_t SentDataLength;
	char field_buff[200] = {0};

	strcpy(http,"GET /update?api_key=");
	strcat(http, THINGSPEAK_API_KEY);

	for (int i = 0; i < numberOfField; i++) {

		sprintf(field_buff, "&field%d=%u",i+1, value[i]);
		strcat(http, field_buff);
	}
	WIFI_SendData(0, (uint8_t *)http, strlen((char *)http), &SentDataLength);

	/* Ở đây dùng hàm strcpy và hàm strcat để gộp và nối các chuỗi tạo thành 1 dạng chuẩn của HTTP request
	 * giống như trong api mẫu của thingspeak. Giả sử numberOfField = 3 và value = {5, 10, 15}. Ta có chuỗi http sau cùng:
	 * 	--> GET /update?api_key=ZPLGUXRC93AJK66Y&field1=5&field2=10&field3=15
	 * 	Không cần api.thingspeak.com vì đã kết nối ở trên rồi.
	 *
	 *
	 */
}

/* USER CODE END 4 */

void Error_Handler(void)
{
  __disable_irq();
  while (1)
  {
  }
}
